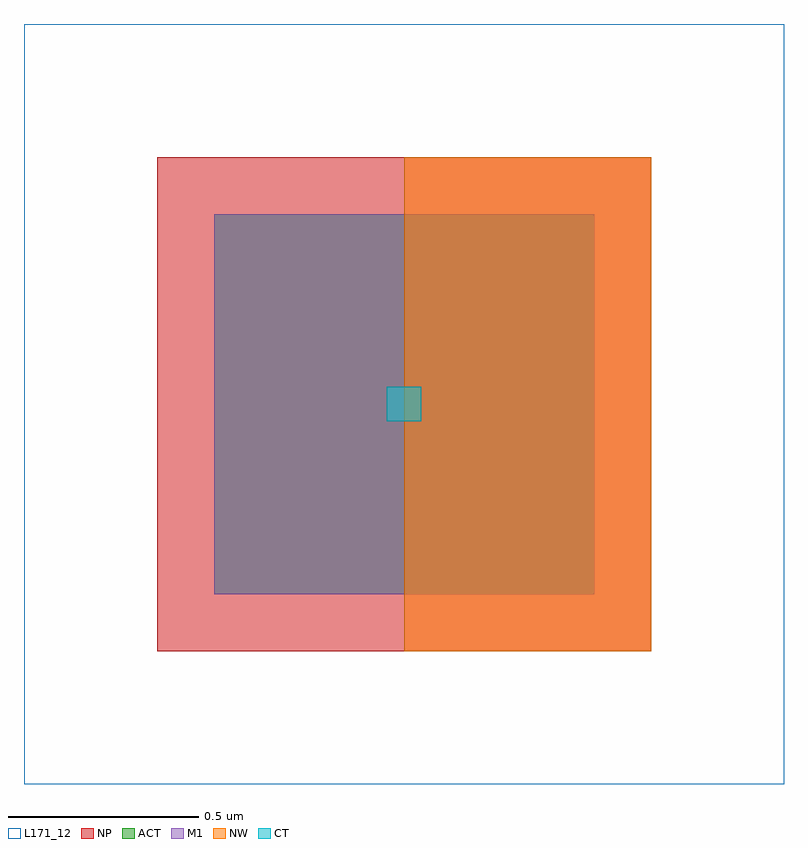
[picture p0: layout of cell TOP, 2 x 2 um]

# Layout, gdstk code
import gdstk
lib = gdstk.Library(unit=1e-6, precision=1e-09)
def R(c, l, rs):  # rectangles x0, y0, x1, y1
    for r in rs: c.add(gdstk.rectangle(r[:2], r[2:], *l))
ACT = (2, 1)
NW = (9, 1)
NP = (52, 1)
CT = (72, 1)
M1 = (81, 1)
L171_12 = (171, 12)

top = lib.new_cell('TOP')
R(top, ACT, [(0,0,1,1)])
R(top, NW, [(0.5,-0.15,1.15,1.15)])
R(top, NP, [(-0.15,-0.15,1.15,1.15)])
R(top, CT, [(0.455,0.455,0.545,0.545)])
R(top, M1, [(0,0,1,1)])
R(top, L171_12, [(-0.5,-0.5,1.5,1.5)])

lib.write_gds('TOP.gds')
